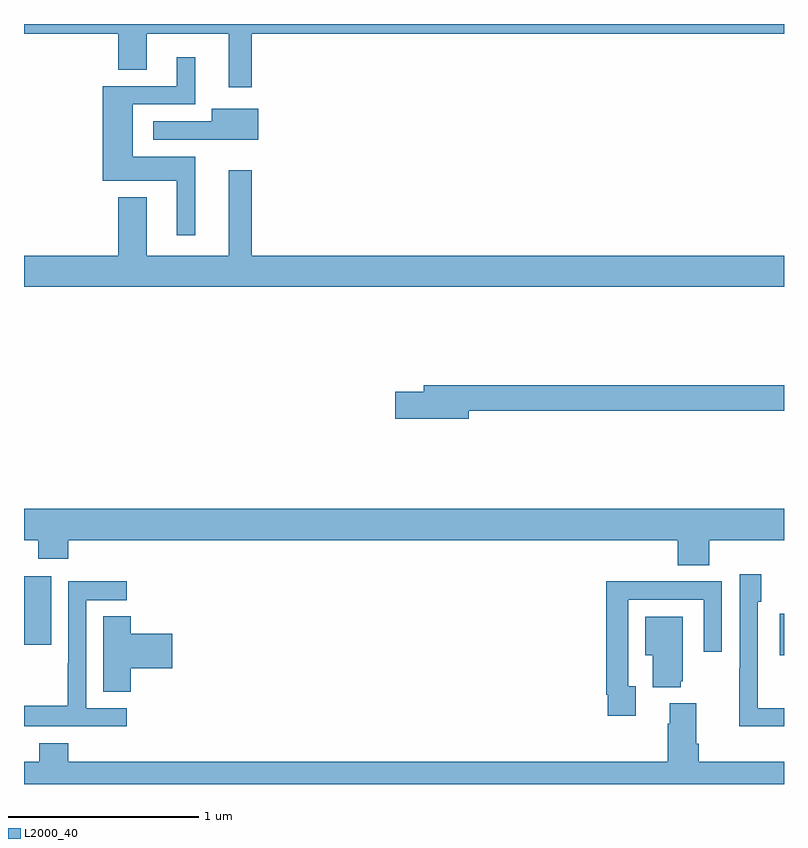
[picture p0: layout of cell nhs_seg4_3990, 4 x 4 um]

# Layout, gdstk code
import gdstk
lib = gdstk.Library(unit=1e-6, precision=1e-09)
def R(c, l, rs):  # rectangles x0, y0, x1, y1
    for r in rs: c.add(gdstk.rectangle(r[:2], r[2:], *l))
def P(c, l, *ps):  # polygons
    for p in ps: c.add(gdstk.Polygon(p, *l))
L2000_40 = (2000, 40)

nhs_seg4_3990 = lib.new_cell('nhs_seg4_3990')
R(nhs_seg4_3990, L2000_40, [(326.978,765.578,327,765.797), (323,765.633,323.143,765.994)])
P(nhs_seg4_3990, L2000_40, [(324.199,768.848),(327,768.848),(327,768.9),(323,768.9),(323,768.848),(323.495,768.848),(323.495,768.658),(323.647,768.658),(323.647,768.848),(324.077,768.848),(324.077,768.567),(324.199,768.567)],
  [(323.902,768.202),(323.572,768.202),(323.572,768.477),(323.902,768.477),(323.902,768.724),(323.804,768.724),(323.804,768.573),(323.414,768.573),(323.414,768.074),(323.804,768.074),(323.804,767.787),(323.902,767.787)],
  [(324.232,768.454),(323.987,768.454),(323.987,768.387),(323.679,768.387),(323.679,768.291),(323.991,768.291),(323.991,768.29),(324.232,768.29)],
  [(327,767.68),(324.199,767.68),(324.199,768.13),(324.077,768.13),(324.077,767.68),(323.647,767.68),(323.647,767.989),(323.495,767.989),(323.495,767.68),(323,767.68),(323,767.516),(327,767.516)],
  [(325.342,766.864),(327,766.864),(327,767),(325.103,767),(325.103,766.964),(324.954,766.964),(324.954,766.822),(325.342,766.822)],
  [(326.606,766.184),(327,766.184),(327,766.348),(323,766.348),(323,766.184),(323.074,766.184),(323.074,766.085),(323.234,766.085),(323.234,766.184),(326.441,766.184),(326.441,766.051),(326.606,766.051)],
  [(327,765.3),(326.862,765.3),(326.862,765.858),(326.881,765.858),(326.881,766.003),(326.766,766.003),(326.766,765.509),(326.764,765.509),(326.764,765.203),(327,765.203)],
  [(326.221,765.414),(326.181,765.414),(326.181,765.87),(326.577,765.87),(326.577,765.597),(326.673,765.597),(326.673,765.966),(326.357,765.966),(326.357,765.968),(326.065,765.968),(326.065,765.37),(326.073,765.37),(326.073,765.258),(326.221,765.258)],
  [(323.542,765.3),(323.328,765.3),(323.328,765.867),(323.542,765.867),(323.542,765.966),(323.232,765.966),(323.232,765.536),(323.23,765.536),(323.23,765.313),(323,765.313),(323,765.204),(323.542,765.204)],
  [(323.561,765.509),(323.779,765.509),(323.779,765.692),(323.561,765.692),(323.561,765.782),(323.417,765.782),(323.417,765.385),(323.561,765.385)],
  [(326.456,765.441),(326.467,765.441),(326.467,765.781),(326.27,765.781),(326.27,765.578),(326.309,765.578),(326.309,765.41),(326.456,765.41)],
  [(327,765.016),(326.552,765.016),(326.552,765.112),(326.539,765.112),(326.539,765.325),(326.399,765.325),(326.399,765.218),(326.387,765.218),(326.387,765.016),(323.234,765.016),(323.234,765.115),(323.081,765.115),(323.081,765.016),(323,765.016),(323,764.9),(327,764.9)])

lib.write_gds('nhs_seg4_3990.gds')
